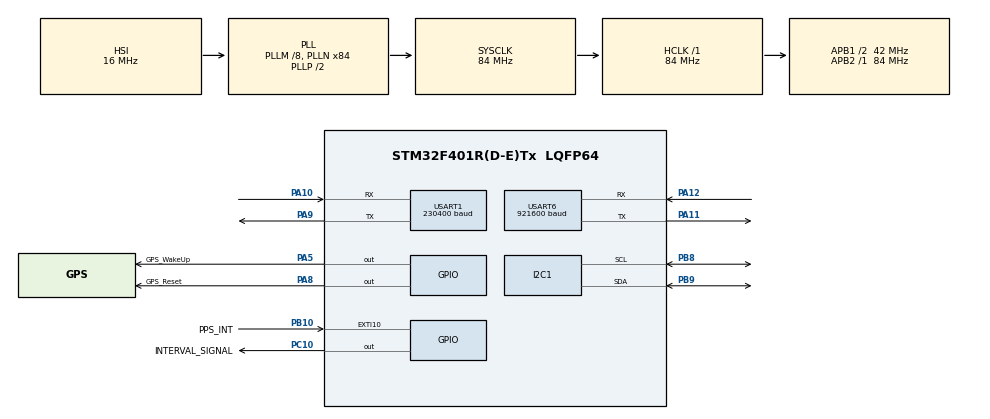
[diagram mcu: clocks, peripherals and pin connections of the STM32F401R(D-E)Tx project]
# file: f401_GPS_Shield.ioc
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Dma.Request0=USART1_RX
Dma.USART1_RX.0.Direction=DMA_PERIPH_TO_MEMORY
Dma.USART1_RX.0.FIFOMode=DMA_FIFOMODE_DISABLE
Dma.USART1_RX.0.Instance=DMA2_Stream2
Dma.USART1_RX.0.MemDataAlignment=DMA_MDATAALIGN_BYTE
Dma.USART1_RX.0.MemInc=DMA_MINC_ENABLE
Dma.USART1_RX.0.Mode=DMA_NORMAL
Dma.USART1_RX.0.PeriphDataAlignment=DMA_PDATAALIGN_BYTE
Dma.USART1_RX.0.PeriphInc=DMA_PINC_DISABLE
Dma.USART1_RX.0.Priority=DMA_PRIORITY_HIGH
Mcu.Family=STM32F4
Mcu.Name=STM32F401R(D-E)Tx
Mcu.Package=LQFP64
NVIC.DMA2_Stream2_IRQn=true\:0\:0\:false\:false\:true\:false\:true\:true
NVIC.EXTI15_10_IRQn=true\:0\:0\:false\:false\:true\:true\:true\:true
NVIC.PriorityGroup=NVIC_PRIORITYGROUP_4
NVIC.TIM1_BRK_TIM9_IRQn=true\:0\:0\:false\:false\:true\:true\:true\:true
PA10.GPIO_PuPd=GPIO_PULLUP
PA10.Mode=Asynchronous
PA10.Signal=USART1_RX
PA11.Mode=Asynchronous
PA11.Signal=USART6_TX
PA12.Mode=Asynchronous
PA12.Signal=USART6_RX
PA13.Mode=Serial_Wire
PA13.Signal=SYS_JTMS-SWDIO
PA14.Mode=Serial_Wire
PA14.Signal=SYS_JTCK-SWCLK
PA5.GPIO_Label=GPS_WakeUp
PA5.Signal=GPIO_Output
PA8.GPIO_Label=GPS_Reset
PA8.Signal=GPIO_Output
PA9.GPIO_PuPd=GPIO_PULLUP
PA9.Mode=Asynchronous
PA9.Signal=USART1_TX
PB10.GPIO_Label=PPS_INT
PB10.GPIO_PuPd=GPIO_PULLDOWN
PB10.Signal=GPXTI10
PB8.GPIO_Pu=GPIO_PULLUP
PB8.Mode=I2C
PB8.Signal=I2C1_SCL
PB9.GPIO_Pu=GPIO_PULLUP
PB9.Mode=I2C
PB9.Signal=I2C1_SDA
PC10.GPIO_Label=INTERVAL_SIGNAL
PC10.Signal=GPIO_Output
ProjectManager.HeapSize=0x200
ProjectManager.StackSize=0x400
ProjectManager.TargetToolchain=STM32CubeIDE
RCC.48MHZClocksFreq_Value=42000000
RCC.AHBFreq_Value=84000000
RCC.APB1CLKDivider=RCC_HCLK_DIV2
RCC.APB1Freq_Value=42000000
RCC.APB1TimFreq_Value=84000000
RCC.APB2Freq_Value=84000000
RCC.APB2TimFreq_Value=84000000
RCC.CortexFreq_Value=84000000
RCC.HCLKFreq_Value=84000000
RCC.HSE_VALUE=25000000
RCC.HSI_VALUE=16000000
RCC.LSE_VALUE=32768
RCC.PLLM=8
RCC.PLLN=84
RCC.SYSCLKFreq_VALUE=84000000
RCC.SYSCLKSource=RCC_SYSCLKSOURCE_PLLCLK
RCC.VCOOutputFreq_Value=168000000
TIM9.Channel-Output\ Compare1\ No\ Output=TIM_CHANNEL_1
TIM9.Channel-Output\ Compare2\ No\ Output=TIM_CHANNEL_2
TIM9.Period=10000-1
TIM9.Prescaler=8400-1
TIM9.Pulse-Output\ Compare1\ No\ Output=3333-1
TIM9.Pulse-Output\ Compare2\ No\ Output=6666-1
USART1.BaudRate=230400
USART1.VirtualMode=VM_ASYNC
USART6.BaudRate=921600
USART6.VirtualMode=VM_ASYNC
VP_TIM9_VS_ClockSourceINT.Mode=Internal
VP_TIM9_VS_no_output1.Mode=Output Compare1 No Output
VP_TIM9_VS_no_output2.Mode=Output Compare2 No Output
board=custom

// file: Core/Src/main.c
/* USER CODE BEGIN Header */
/* By: Simonas Riauka and Aurimas Junevičius 2025-06 */
/**
 ******************************************************************************
 * @file           : main.c
 * @brief          : Main program body
 ******************************************************************************
 * @attention
 *
 * <h2><center>&copy; Copyright (c) 2020 STMicroelectronics.
 * All rights reserved.</center></h2>
 *
 * This software component is licensed by ST under BSD 3-Clause license,
 * the "License"; You may not use this file except in compliance with the
 * License. You may obtain a copy of the License at:
 *                        opensource.org/licenses/BSD-3-Clause
 *
 ******************************************************************************
 */

/* USER CODE END Header */
#include "main.h"

/* USER CODE BEGIN Includes */
#include <stdlib.h>
#include <string.h>
#include <stdio.h>
#include <stdbool.h>
#include "hts221_driver.h"
#include "sht40ad1b_driver.h"
#include "gnss_driver.h"
#include "LPS22HB.h"

/* USER CODE END Includes */

/* USER CODE BEGIN PD */
#define GPS_MESSAGE_BUFFER_MAX_LENGTH 300
#define UART_TIMEOUT 10
#define MESSAGE_BUFFER_MAX_LENGTH 100

//#define SCAN_I2C
//#define LOG_DATA
/* USER CODE END PD */

I2C_HandleTypeDef hi2c1;

TIM_HandleTypeDef htim9;

UART_HandleTypeDef huart1;
UART_HandleTypeDef huart6;
DMA_HandleTypeDef hdma_usart1_rx;

void SystemClock_Config(void);
static void MX_GPIO_Init(void);
static void MX_DMA_Init(void);
static void MX_USART6_UART_Init(void);
static void MX_USART1_UART_Init(void);
static void MX_I2C1_Init(void);
static void MX_TIM9_Init(void);
/* USER CODE BEGIN PFP */

void HAL_GPIO_EXTI_Callback(uint16_t GPIO_Pin);
void I2C_scanning(UART_HandleTypeDef *huart, I2C_HandleTypeDef *hi2c);
uint8_t NMEA_data_parsing(UART_HandleTypeDef *huart, char* MSG);
uint8_t CHECKSUM_calculation(char* msg_index, uint16_t msg_length);
void DM_TO_DMS_conversion(char* coordinate_start,uint8_t length);

/* USER CODE END PFP */

/* USER CODE BEGIN 0 */
static bool PPS_Flag = false;
static uint8_t gps_message_buffer[GPS_MESSAGE_BUFFER_MAX_LENGTH] = {0};
static uint8_t message_buffer[MESSAGE_BUFFER_MAX_LENGTH] = {0};
static int message_buffer_length = 0;
//static float humidity, temperature = 0; hts221 not used
uint8_t soft_reset = 0;

volatile uint8_t SAMPLE_UPDATE = 0;//for sampling interval

LPS22HB_STRUCT_DATA LPS22HB_data;
GPSDef gps_data = {.HDOP = 0,.hours=0,.minutes=0,.seconds=0,.fix=0,.Satellites=0};
/* USER CODE END 0 */

int main(void)
{

	/* USER CODE BEGIN 1 */
	char temp[10];
	uint8_t gnss_data_found;
	uint8_t checksum;
	/* USER CODE END 1 */

	/* MCU Configuration--------------------------------------------------------*/

	/* Reset of all peripherals, Initializes the Flash interface and the Systick. */
	HAL_Init();

	/* Configure the system clock */
	SystemClock_Config();

	/* Initialize all configured peripherals */
	MX_GPIO_Init();
	MX_DMA_Init();
	MX_USART6_UART_Init();
	MX_USART1_UART_Init();
	MX_I2C1_Init();
	MX_TIM9_Init();
	/* USER CODE BEGIN 2 */
#ifdef SCAN_I2C
	I2C_scanning(&huart6, &hi2c1);
#endif

	/* For IKS01A2*/
	HAL_Delay(400);//wait 400ms for RC filters to charge up
#ifdef LOG_DATA
	message_buffer_length = snprintf((char *)message_buffer,MESSAGE_BUFFER_MAX_LENGTH,"$STARTING INIT\r\n\r\n");
	HAL_UART_Transmit(&huart6, (uint8_t*)message_buffer, message_buffer_length, UART_TIMEOUT);
#endif
	gnss_driver_init();

	LPS22HB_Init(&hi2c1, &huart6);
	HAL_TIM_OC_Start_IT(&htim9, TIM_CHANNEL_1);//starting first and second OC channels
	HAL_TIM_OC_Start_IT(&htim9, TIM_CHANNEL_2);//starting first and second OC channels

	/* USER CODE END 2 */

	/* Infinite loop */
	while (1)
	{
		/* USER CODE BEGIN 3 */
		if(SAMPLE_UPDATE && PPS_Flag != 1)//first priority to PPS_FLAG, then this, if both on
		{
			LPS22HB_Start_Sample(&hi2c1,&huart6);
			LPS22HB_Convert_Data(&hi2c1, &LPS22HB_data);

			message_buffer_length = snprintf((char *)message_buffer,MESSAGE_BUFFER_MAX_LENGTH,"$PNLBLPS,%1.1f,%1.1f,*",LPS22HB_data.Pressure,LPS22HB_data.Temperature);
			checksum = CHECKSUM_calculation((char*)message_buffer,message_buffer_length);
			sprintf(temp,"%02X\r\n",checksum);
			strcat((char*)message_buffer,temp);
			HAL_UART_Transmit(&huart6, (uint8_t*)message_buffer, message_buffer_length+strlen((char*)temp), UART_TIMEOUT);
			SAMPLE_UPDATE = 0;
		}
		if(PPS_Flag == 1)
		{
			__disable_irq();//turn off IRQ, reading data from message_buffer
			gnss_data_found = NMEA_data_parsing(&huart6,(char*)gps_message_buffer);
			PPS_Flag = 0;
			__enable_irq();
			DM_TO_DMS_conversion(gps_data.Longitude,20);
			DM_TO_DMS_conversion(gps_data.Latitude,20);
			if (gnss_data_found)
			{
				message_buffer_length = snprintf((char *)message_buffer,MESSAGE_BUFFER_MAX_LENGTH,"$PNLBGPS,%u,%s,%s,%s,%s,%02u%02u%02u,%u,%1.1f,*",gps_data.fix,gps_data.Latitude,gps_data.Lat_direction,gps_data.Longitude,gps_data.Long_direction,gps_data.hours,gps_data.minutes,gps_data.seconds,gps_data.Satellites,gps_data.HDOP);
				checksum = CHECKSUM_calculation((char*)message_buffer,message_buffer_length);
				sprintf(temp,"%02X\r\n",checksum);
				strcat((char*)message_buffer,temp);
				HAL_UART_Transmit(&huart6, (uint8_t*)message_buffer, message_buffer_length+strlen((char*)temp), UART_TIMEOUT);

				gnss_data_found = 0;
			}
		}

	}
	/* USER CODE END 3 */
}

void SystemClock_Config(void)
{
	RCC_OscInitTypeDef RCC_OscInitStruct = {0};
	RCC_ClkInitTypeDef RCC_ClkInitStruct = {0};

	/** Configure the main internal regulator output voltage
	 */
	__HAL_RCC_PWR_CLK_ENABLE();
	__HAL_PWR_VOLTAGESCALING_CONFIG(PWR_REGULATOR_VOLTAGE_SCALE2);

	/** Initializes the RCC Oscillators according to the specified parameters
	 * in the RCC_OscInitTypeDef structure.
	 */
	RCC_OscInitStruct.OscillatorType = RCC_OSCILLATORTYPE_HSI;
	RCC_OscInitStruct.HSIState = RCC_HSI_ON;
	RCC_OscInitStruct.HSICalibrationValue = RCC_HSICALIBRATION_DEFAULT;
	RCC_OscInitStruct.PLL.PLLState = RCC_PLL_ON;
	RCC_OscInitStruct.PLL.PLLSource = RCC_PLLSOURCE_HSI;
	RCC_OscInitStruct.PLL.PLLM = 8;
	RCC_OscInitStruct.PLL.PLLN = 84;
	RCC_OscInitStruct.PLL.PLLP = RCC_PLLP_DIV2;
	RCC_OscInitStruct.PLL.PLLQ = 4;
	if (HAL_RCC_OscConfig(&RCC_OscInitStruct) != HAL_OK)
	{
		Error_Handler();
	}

	/** Initializes the CPU, AHB and APB buses clocks
	 */
	RCC_ClkInitStruct.ClockType = RCC_CLOCKTYPE_HCLK|RCC_CLOCKTYPE_SYSCLK
			|RCC_CLOCKTYPE_PCLK1|RCC_CLOCKTYPE_PCLK2;
	RCC_ClkInitStruct.SYSCLKSource = RCC_SYSCLKSOURCE_PLLCLK;
	RCC_ClkInitStruct.AHBCLKDivider = RCC_SYSCLK_DIV1;
	RCC_ClkInitStruct.APB1CLKDivider = RCC_HCLK_DIV2;
	RCC_ClkInitStruct.APB2CLKDivider = RCC_HCLK_DIV1;

	if (HAL_RCC_ClockConfig(&RCC_ClkInitStruct, FLASH_LATENCY_2) != HAL_OK)
	{
		Error_Handler();
	}
}

static void MX_I2C1_Init(void)
{

	hi2c1.Instance = I2C1;
	hi2c1.Init.ClockSpeed = 100000;
	hi2c1.Init.DutyCycle = I2C_DUTYCYCLE_2;
	hi2c1.Init.OwnAddress1 = 0;
	hi2c1.Init.AddressingMode = I2C_ADDRESSINGMODE_7BIT;
	hi2c1.Init.DualAddressMode = I2C_DUALADDRESS_DISABLE;
	hi2c1.Init.OwnAddress2 = 0;
	hi2c1.Init.GeneralCallMode = I2C_GENERALCALL_DISABLE;
	hi2c1.Init.NoStretchMode = I2C_NOSTRETCH_DISABLE;
	if (HAL_I2C_Init(&hi2c1) != HAL_OK)
	{
		Error_Handler();
	}

}

static void MX_TIM9_Init(void)
{

	TIM_ClockConfigTypeDef sClockSourceConfig = {0};
	TIM_OC_InitTypeDef sConfigOC = {0};

	htim9.Instance = TIM9;
	htim9.Init.Prescaler = 8400-1;
	htim9.Init.CounterMode = TIM_COUNTERMODE_UP;
	htim9.Init.Period = 10000-1;
	htim9.Init.ClockDivision = TIM_CLOCKDIVISION_DIV1;
	htim9.Init.AutoReloadPreload = TIM_AUTORELOAD_PRELOAD_DISABLE;
	if (HAL_TIM_Base_Init(&htim9) != HAL_OK)
	{
		Error_Handler();
	}
	sClockSourceConfig.ClockSource = TIM_CLOCKSOURCE_INTERNAL;
	if (HAL_TIM_ConfigClockSource(&htim9, &sClockSourceConfig) != HAL_OK)
	{
		Error_Handler();
	}
	if (HAL_TIM_OC_Init(&htim9) != HAL_OK)
	{
		Error_Handler();
	}
	sConfigOC.OCMode = TIM_OCMODE_TIMING;
	sConfigOC.Pulse = 3333-1;
	sConfigOC.OCPolarity = TIM_OCPOLARITY_HIGH;
	sConfigOC.OCFastMode = TIM_OCFAST_DISABLE;
	if (HAL_TIM_OC_ConfigChannel(&htim9, &sConfigOC, TIM_CHANNEL_1) != HAL_OK)
	{
		Error_Handler();
	}
	sConfigOC.Pulse = 6666-1;
	if (HAL_TIM_OC_ConfigChannel(&htim9, &sConfigOC, TIM_CHANNEL_2) != HAL_OK)
	{
		Error_Handler();
	}

}

static void MX_USART1_UART_Init(void)
{

	huart1.Instance = USART1;
	huart1.Init.BaudRate = 230400;
	huart1.Init.WordLength = UART_WORDLENGTH_8B;
	huart1.Init.StopBits = UART_STOPBITS_1;
	huart1.Init.Parity = UART_PARITY_NONE;
	huart1.Init.Mode = UART_MODE_TX_RX;
	huart1.Init.HwFlowCtl = UART_HWCONTROL_NONE;
	huart1.Init.OverSampling = UART_OVERSAMPLING_16;
	if (HAL_UART_Init(&huart1) != HAL_OK)
	{
		Error_Handler();
	}

}

static void MX_USART6_UART_Init(void)
{

	huart6.Instance = USART6;
	huart6.Init.BaudRate = 921600;
	huart6.Init.WordLength = UART_WORDLENGTH_8B;
	huart6.Init.StopBits = UART_STOPBITS_1;
	huart6.Init.Parity = UART_PARITY_NONE;
	huart6.Init.Mode = UART_MODE_TX_RX;
	huart6.Init.HwFlowCtl = UART_HWCONTROL_NONE;
	huart6.Init.OverSampling = UART_OVERSAMPLING_16;
	if (HAL_UART_Init(&huart6) != HAL_OK)
	{
		Error_Handler();
	}

}

static void MX_DMA_Init(void)
{

	/* DMA controller clock enable */
	__HAL_RCC_DMA2_CLK_ENABLE();

	/* DMA interrupt init */
	/* DMA2_Stream2_IRQn interrupt configuration */
	HAL_NVIC_SetPriority(DMA2_Stream2_IRQn, 0, 0);
	HAL_NVIC_EnableIRQ(DMA2_Stream2_IRQn);

}

static void MX_GPIO_Init(void)
{
	GPIO_InitTypeDef GPIO_InitStruct = {0};

	/* GPIO Ports Clock Enable */
	__HAL_RCC_GPIOA_CLK_ENABLE();
	__HAL_RCC_GPIOB_CLK_ENABLE();
	__HAL_RCC_GPIOC_CLK_ENABLE();

	/*Configure GPIO pin Output Level */
	HAL_GPIO_WritePin(GPIOA, GPS_WakeUp_Pin|GPS_Reset_Pin, GPIO_PIN_RESET);

	/*Configure GPIO pin Output Level */
	HAL_GPIO_WritePin(INTERVAL_SIGNAL_GPIO_Port, INTERVAL_SIGNAL_Pin, GPIO_PIN_RESET);

	/*Configure GPIO pins : GPS_WakeUp_Pin GPS_Reset_Pin */
	GPIO_InitStruct.Pin = GPS_WakeUp_Pin|GPS_Reset_Pin;
	GPIO_InitStruct.Mode = GPIO_MODE_OUTPUT_PP;
	GPIO_InitStruct.Pull = GPIO_NOPULL;
	GPIO_InitStruct.Speed = GPIO_SPEED_FREQ_LOW;
	HAL_GPIO_Init(GPIOA, &GPIO_InitStruct);

	/*Configure GPIO pin : PPS_INT_Pin */
	GPIO_InitStruct.Pin = PPS_INT_Pin;
	GPIO_InitStruct.Mode = GPIO_MODE_IT_RISING;
	GPIO_InitStruct.Pull = GPIO_PULLDOWN;
	HAL_GPIO_Init(PPS_INT_GPIO_Port, &GPIO_InitStruct);

	/*Configure GPIO pin : INTERVAL_SIGNAL_Pin */
	GPIO_InitStruct.Pin = INTERVAL_SIGNAL_Pin;
	GPIO_InitStruct.Mode = GPIO_MODE_OUTPUT_PP;
	GPIO_InitStruct.Pull = GPIO_NOPULL;
	GPIO_InitStruct.Speed = GPIO_SPEED_FREQ_LOW;
	HAL_GPIO_Init(INTERVAL_SIGNAL_GPIO_Port, &GPIO_InitStruct);

	/* EXTI interrupt init*/
	HAL_NVIC_SetPriority(EXTI15_10_IRQn, 0, 0);
	HAL_NVIC_EnableIRQ(EXTI15_10_IRQn);

}

/* USER CODE BEGIN 4 */

uint8_t CHECKSUM_calculation(char* msg_index, uint16_t msg_length)
{
	char* temp;
	uint8_t xor_value=0;
	for(temp = msg_index;temp<(msg_index+msg_length);temp++)
	{
		xor_value = (xor_value^(*temp));//xor one char at a time
	}
	return xor_value;
}
void DM_TO_DMS_conversion(char* coordinate_start,uint8_t length)//overwriting data
{
	//to convert before comma are dd,mm values, after it minutes in seconds, so multiply by 60
	double temp = atof(coordinate_start);
	int16_t degrees;
	int16_t minutes;
	degrees = (int16_t)temp/100;
	minutes = (int16_t)temp%100;
	float seconds = ((temp - (int16_t)temp)*60);
	sprintf(coordinate_start,"%02d.%02d.%1.2f",degrees,minutes,seconds);
}

void I2C_scanning(UART_HandleTypeDef *huart, I2C_HandleTypeDef *hi2c)
{
	uint8_t Buffer[25] = {0};
	uint8_t Space[] = " - ";
	uint8_t StartMSG[] = "Starting I2C Scanning: \r\n";
	uint8_t EndMSG[] = "\r\nDone! \r\n";
	uint8_t Return;
	HAL_UART_Transmit(huart, StartMSG, strlen((char*)StartMSG), 10000);
	for(uint8_t i = 0; i < 255; i++)
	{
		Return = HAL_I2C_IsDeviceReady(hi2c, i, 2, 10000);
		if(Return != HAL_OK)
		{
			HAL_UART_Transmit(huart, Space, strlen((char*)Space), 10000);
		}
		else if(Return == HAL_OK)
		{
			sprintf((char *)Buffer,"0x%X ",i);
			HAL_UART_Transmit(huart, Buffer, strlen((char*)Buffer), 10000);
		}
	}
	HAL_UART_Transmit(huart, EndMSG, strlen((char*)EndMSG), 10000);
}

/*
 * @brief returns data_found byte, otherwise dont print
 */
uint8_t NMEA_data_parsing(UART_HandleTypeDef *huart, char* MSG)
{
	char delimiter[] = "$\r\n";
	char commandToLook[] = "GPGGA";

	char *temp = strtok(MSG, delimiter);
	char *commandPtr;

	while (temp != NULL)
	{
		commandPtr = strstr(temp, commandToLook);
		if (commandPtr != NULL) // found the data to parse
		{
			commandPtr = strtok(commandPtr + 1, ","); // GPGGA, skip
			commandPtr = strtok(NULL, ",");           // time
			uint32_t time = atoi(commandPtr);
			gps_data.hours = (time / 10000) + 3; // EET Summer time +3
			gps_data.minutes = (time / 100) % 100;
			gps_data.seconds = time % 100;

			commandPtr = strtok(NULL, ","); // Latitude
			strcpy(gps_data.Latitude, commandPtr);
			commandPtr = strtok(NULL, ","); // N or S
			strcpy(gps_data.Lat_direction, commandPtr);

			commandPtr = strtok(NULL, ","); // Longitude
			strcpy(gps_data.Longitude, commandPtr);
			commandPtr = strtok(NULL, ","); // E or W
			strcpy(gps_data.Long_direction, commandPtr);

			commandPtr = strtok(NULL, ","); // fix
			gps_data.fix = atoi(commandPtr);
			commandPtr = strtok(NULL, ","); // number of satellites
			gps_data.Satellites = atoi(commandPtr);

			commandPtr = strtok(NULL, ","); // HDOP
			gps_data.HDOP = atof(commandPtr);

			return 1;//data found
		}
		else
		{
			temp = strtok(NULL, delimiter);
		}
	}
	return 0;//by this point no useful data found, exit with 0
}

/* External GPIO interrupt handler */
void HAL_GPIO_EXTI_Callback(uint16_t GPIO_Pin){
	/* PPS interrupt handler */
	if(GPIO_Pin == PPS_INT_Pin){
		/* PPS interrupt found, receive DMA data */
		__disable_irq();
		PPS_Flag = true;
		SAMPLE_UPDATE = 1;
		__enable_irq();
		HAL_UART_Receive_DMA(&huart1, gps_message_buffer, GPS_MESSAGE_BUFFER_MAX_LENGTH);
		TIM9->CNT = 0;//synchronising by resetting the timer every 1s, the timer itself has 1s of time
#ifdef LOG_DATA
		sprintf((char *)message_buffer,"SysTick:%lu\r\n",uwTick);
		HAL_UART_Transmit(&huart6, message_buffer, strlen((char*)message_buffer), UART_TIMEOUT);
#endif
		HAL_GPIO_TogglePin(INTERVAL_SIGNAL_GPIO_Port, INTERVAL_SIGNAL_Pin);// commutation to indicate
	}
}

void HAL_TIM_OC_DelayElapsedCallback(TIM_HandleTypeDef *htim)
{
	if(htim->Instance == TIM9)//sample data (333.3ms interval)
	{
		__disable_irq();
		SAMPLE_UPDATE = 1;
		__enable_irq();
		HAL_GPIO_TogglePin(INTERVAL_SIGNAL_GPIO_Port, INTERVAL_SIGNAL_Pin);// commutation to indicate
	}
}

/* USER CODE END 4 */

void Error_Handler(void)
{
	while(1){
	}
}
